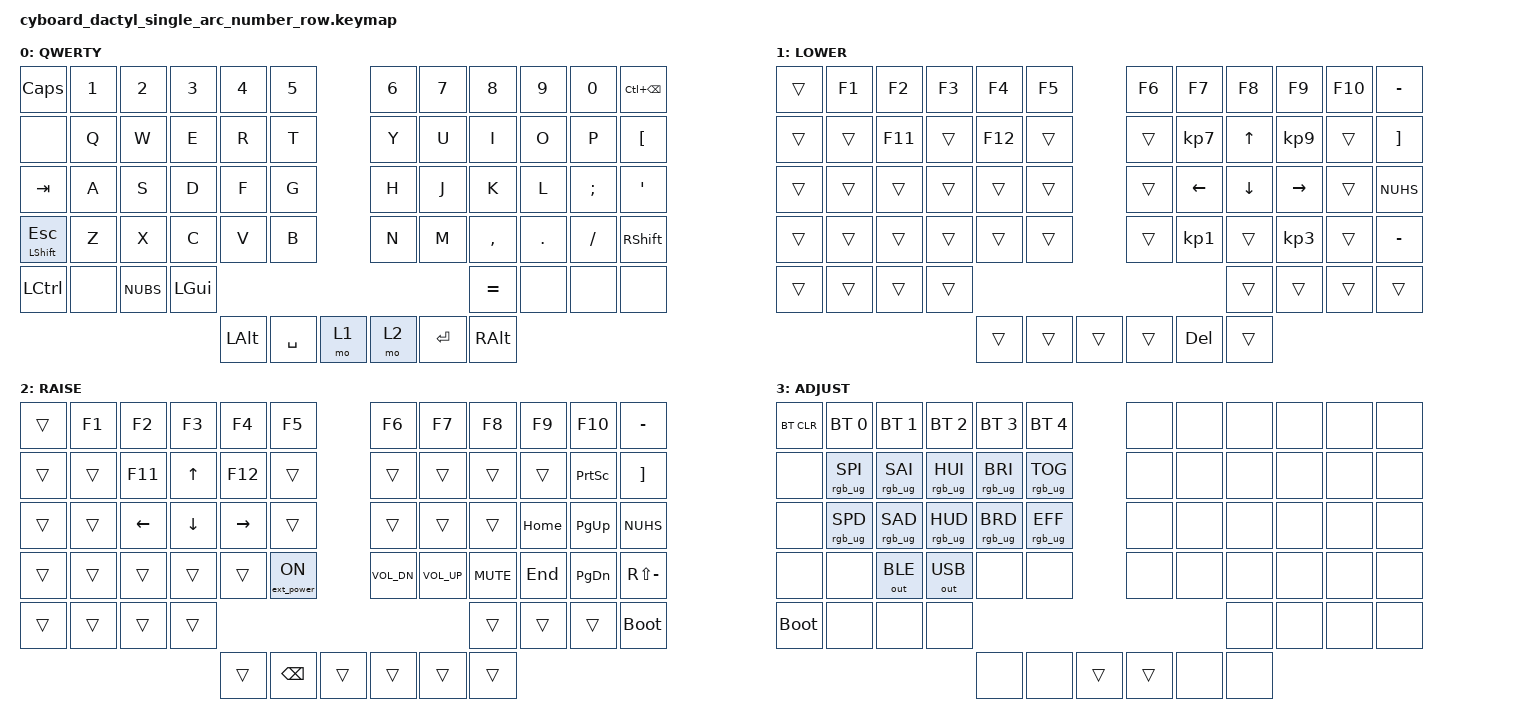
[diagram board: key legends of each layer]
#include <behaviors.dtsi>
#include <dt-bindings/zmk/bt.h>
#include <dt-bindings/zmk/ext_power.h>
#include <dt-bindings/zmk/keys.h>
#include <dt-bindings/zmk/outputs.h>
#include <dt-bindings/zmk/rgb.h>

#define DEFAULT 0
#define LOWER   1
#define RAISE   2
#define ADJUST  3

/ {
    conditional_layers {
        compatible = "zmk,conditional-layers";

        tri_layer {
            if-layers = <LOWER RAISE>;
            then-layer = <ADJUST>;
        };
    };

    combos {
        compatible = "zmk,combos";

        combo_caps_word {
            bindings = <&caps_word>;
            key-positions = <47 36>;
        };
    };

    keymap {
        compatible = "zmk,keymap";

        QWERTY { // mo 0
            bindings = <
&kp CAPS       &kp N1  &kp N2    &kp N3    &kp N4    &kp N5                   &kp N6   &kp N7    &kp N8     &kp N9   &kp N0    &kp LC(BSPC)
&none          &kp Q   &kp W     &kp E     &kp R     &kp T                    &kp Y    &kp U     &kp I      &kp O    &kp P     &kp LBKT
&kp TAB        &kp A   &kp S     &kp D     &kp F     &kp G                    &kp H    &kp J     &kp K      &kp L    &kp SEMI  &kp SQT
&mt LSHFT ESC  &kp Z   &kp X     &kp C     &kp V     &kp B                    &kp N    &kp M     &kp COMMA  &kp DOT  &kp FSLH  &kp RSHFT
&kp LCTRL      &none   &kp NUBS  &kp LGUI                                                        &kp EQUAL  &none    &none     &none
                                           &kp LALT  &kp SPACE  &mo 1  &mo 2  &kp RET  &kp RALT
            >;
        };

        LOWER { // mo 1
            bindings = <
&trans       &kp F1   &kp F2  &kp F3   &kp F4  &kp F5                  &kp F6   &kp F7     &kp F8    &kp F9     &kp F10  &kp MINUS
&trans       &trans   &kp F11 &trans   &kp F12 &trans                  &trans   &kp KP_N7  &kp UP    &kp KP_N9  &trans   &kp RBKT
&trans       &trans   &trans  &trans   &trans  &trans                  &trans   &kp LEFT   &kp DOWN  &kp RIGHT  &trans   &kp NUHS
&trans       &trans   &trans  &trans   &trans  &trans                  &trans   &kp KP_N1  &trans    &kp KP_N3  &trans   &kp MINUS
&trans       &trans   &trans  &trans                                                       &trans    &trans     &trans   &trans
                                       &trans  &trans  &trans  &trans  &kp DEL  &trans
            >;
        };

        RAISE { // mo 2
            bindings = <
&trans  &kp F1    &kp F2    &kp F3     &kp F4  &kp F5                            &kp F6        &kp F7        &kp F8      &kp F9    &kp F10    &kp MINUS
&trans  &trans    &kp F11   &kp UP    &kp F12  &trans                            &trans        &trans        &trans      &trans    &kp PSCRN  &kp RBKT
&trans  &trans    &kp LEFT  &kp DOWN  &kp RIGHT &trans                           &trans        &trans        &trans      &kp HOME  &kp PG_UP  &kp NUHS
&trans  &trans    &trans    &trans     &trans  &ext_power EP_ON                  &kp C_VOL_DN  &kp C_VOL_UP  &kp C_MUTE  &kp END   &kp PG_DN  &kp RS(MINUS)
&trans  &trans    &trans    &trans                                                                           &trans      &trans    &trans     &bootloader
                                       &trans  &kp BSPC          &trans  &trans  &trans        &trans
            >;
        };

        ADJUST { // mo 3
            bindings = <
&bt BT_CLR  &bt BT_SEL 0     &bt BT_SEL 1     &bt BT_SEL 2     &bt BT_SEL 3     &bt BT_SEL 4                     &none  &none  &none  &none  &none  &none
&none       &rgb_ug RGB_SPI  &rgb_ug RGB_SAI  &rgb_ug RGB_HUI  &rgb_ug RGB_BRI  &rgb_ug RGB_TOG                  &none  &none  &none  &none  &none  &none
&none       &rgb_ug RGB_SPD  &rgb_ug RGB_SAD  &rgb_ug RGB_HUD  &rgb_ug RGB_BRD  &rgb_ug RGB_EFF                  &none  &none  &none  &none  &none  &none
&none       &none            &out OUT_BLE     &out OUT_USB     &none            &none                            &none  &none  &none  &none  &none  &none
&bootloader &none            &none            &none                                                                            &none  &none  &none  &none
                                                               &none            &none            &trans  &trans  &none  &none
            >;
        };
    };
};

// vim: nowrap syntax=c
